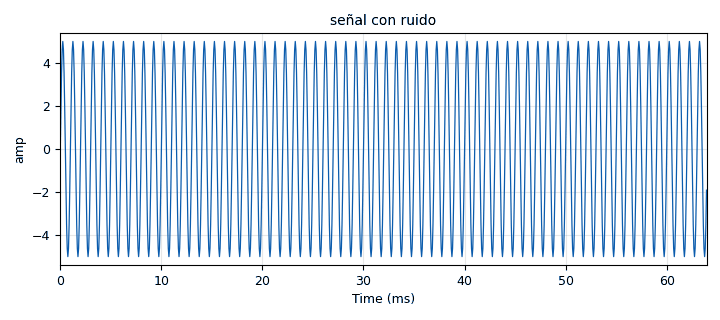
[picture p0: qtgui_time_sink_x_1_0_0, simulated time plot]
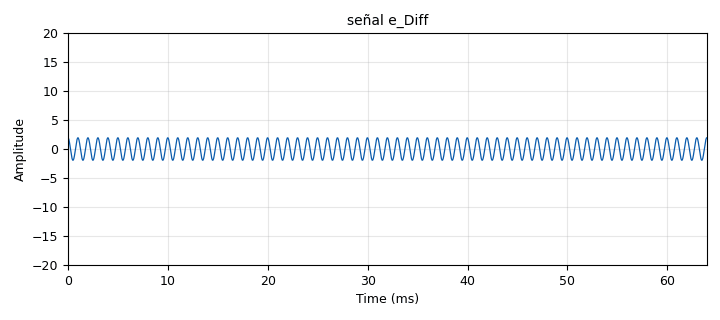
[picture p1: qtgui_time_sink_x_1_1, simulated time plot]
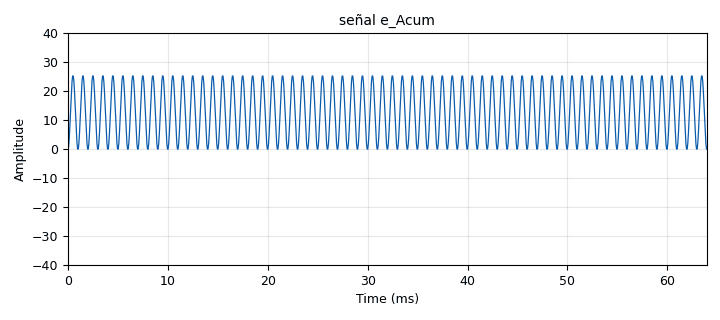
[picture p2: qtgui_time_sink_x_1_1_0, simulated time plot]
options:
  parameters:
    generate_options: qt_gui
    id: Promedios_de_Tiempos
    output_language: python
    title: Not titled yet
  states: {}

blocks:
- name: amp
  id: variable_qtgui_range
  parameters:
    label: amp
    start: '0'
    step: '0.001'
    stop: '1'
    value: '0'
  states: {}
- name: samp_rate
  id: variable
  parameters:
    value: '16000'
  states: {}
- name: analog_noise_source_x_0_0_0
  id: analog_noise_source_x
  parameters:
    amp: amp
    noise_type: analog.GR_GAUSSIAN
    seed: '5'
    type: float
  states: {}
- name: analog_sig_source_x_0_0_0
  id: analog_sig_source_x
  parameters:
    amp: '5'
    freq: '1000'
    offset: '0'
    phase: '0'
    samp_rate: samp_rate
    type: float
    waveform: analog.GR_SIN_WAVE
  states: {}
- name: blocks_add_xx_0_0_0
  id: blocks_add_xx
  parameters:
    type: float
  states: {}
- name: blocks_throttle2_0_0_0
  id: blocks_throttle2
  parameters:
    samples_per_second: samp_rate
    type: float
  states: {}
- name: epy_block_0
  id: epy_block
  parameters:
    _source_code: |
      """
      Embedded Python Blocks:

      Each time this file is saved, GRC will instantiate the first class it finds
      to get ports and parameters of your block. The arguments to __init__  will
      be the parameters. All of them are required to have default values!
      """

      import numpy as np
      from gnuradio import gr
      class blk (gr. sync_block ):
          def __init__ ( self, additionFlag=True) : # only default arguments here
              gr. sync_block . __init__ (
                  self ,
                  name ='Promedios_de_tiempos', 
                  in_sig =[ np. float32 ],
                  out_sig =[ np. float32 , np.float32, np.float32, np.float32, np.float32]
              )
              self . acum_anterior = 0
              self . Ntotales = 0
              self . acum_anterior1 = 0
              self . acum_anterior2 = 0
              
          def work (self , input_items , output_items ):
              x = input_items [0] # Senial de entrada .
              y0 = output_items [0] # Promedio de la senial
              y1 = output_items [1] # Media de la senial
              y2 = output_items [2] # RMS de la senial
              y3 = output_items [3] # Potencia promedio de la senial
              y4 = output_items [4] # Desviacion estandar de la senial

              # Calculo del promedio
              N = len (x)
              self . Ntotales = self . Ntotales + N
              acumulado = self . acum_anterior + np. cumsum (x)
              self . acum_anterior = acumulado [N -1]
              y0 [:]= acumulado / self . Ntotales
              
              # Calculo de la media cuadratica
              x2=np. multiply (x,x)
              acumulado1 = self . acum_anterior1 + np. cumsum (x2)
              self . acum_anterior1 = acumulado [N -1]
              y1 [:] = acumulado1 / self . Ntotales
              
              # Calculo de la RMS
              y2 [:] = np. sqrt (y1)
              
              # Calculo de la potencia promedio
              y3 [:] = np. multiply (y2 ,y2)

              # Calculo de la desviacion estandar
              x3 = np. multiply (x-y0 ,x-y0)
              acumulado2 = self . acum_anterior2 + np. cumsum (x3)
              self . acum_anterior2 = acumulado2 [N -1]
              y4 [:] = np. sqrt ( acumulado2 / self . Ntotales )
              
              return len (x)
              output_items[0][:]=input_items[0]*self.additionFlag
              return len (output_items[0])
    additionFlag: 'True'
  states: {}
- name: epy_block_0_0
  id: epy_block
  parameters:
    _source_code: |
      """
      Embedded Python Blocks:

      Each time this file is saved, GRC will instantiate the first class it finds
      to get ports and parameters of your block. The arguments to __init__  will
      be the parameters. All of them are required to have default values!
      """

      import numpy as np
      from gnuradio import gr
      class blk (gr. sync_block ):
          def __init__ ( self, additionFlag=True) : # only default arguments here
              gr. sync_block . __init__ (
                  self ,
                  name ='Promedios_de_tiempos', 
                  in_sig =[ np. float32 ],
                  out_sig =[ np. float32 , np.float32, np.float32, np.float32, np.float32]
              )
              self . acum_anterior = 0
              self . Ntotales = 0
              self . acum_anterior1 = 0
              self . acum_anterior2 = 0
              
          def work (self , input_items , output_items ):
              x = input_items [0] # Senial de entrada .
              y0 = output_items [0] # Promedio de la senial
              y1 = output_items [1] # Media de la senial
              y2 = output_items [2] # RMS de la senial
              y3 = output_items [3] # Potencia promedio de la senial
              y4 = output_items [4] # Desviacion estandar de la senial

              # Calculo del promedio
              N = len (x)
              self . Ntotales = self . Ntotales + N
              acumulado = self . acum_anterior + np. cumsum (x)
              self . acum_anterior = acumulado [N -1]
              y0 [:]= acumulado / self . Ntotales
              
              # Calculo de la media cuadratica
              x2=np. multiply (x,x)
              acumulado1 = self . acum_anterior1 + np. cumsum (x2)
              self . acum_anterior1 = acumulado [N -1]
              y1 [:] = acumulado1 / self . Ntotales
              
              # Calculo de la RMS
              y2 [:] = np. sqrt (y1)
              
              # Calculo de la potencia promedio
              y3 [:] = np. multiply (y2 ,y2)

              # Calculo de la desviacion estandar
              x3 = np. multiply (x-y0 ,x-y0)
              acumulado2 = self . acum_anterior2 + np. cumsum (x3)
              self . acum_anterior2 = acumulado2 [N -1]
              y4 [:] = np. sqrt ( acumulado2 / self . Ntotales )
              
              return len (x)
              output_items[0][:]=input_items[0]*self.additionFlag
              return len (output_items[0])
    additionFlag: 'True'
  states: {}
- name: epy_block_1_0_0
  id: epy_block
  parameters:
    _source_code: "\"\"\"\nEmbedded Python Blocks:\n\nEach time this file is saved, GRC will instantiate the first class it finds\nto get ports and parameters of your block. The arguments to __init__  will\nbe the parameters. All of them are required to have default values!\n\"\"\"\n\nimport numpy as np\nfrom gnuradio import gr\n\n\nclass blk(gr.sync_block):  # other base classes are basic_block, decim_block, interp_block\n    \"\"\"Embedded Python Block example - a simple multiply const\"\"\"\n\n    def __init__(self, additionFlag=True):  # only default arguments here\n        \"\"\"arguments to this function show up as parameters in GRC\"\"\"\n        gr.sync_block.__init__(\n            self,\n            name='e_Diff',   # will show up in GRC\n            in_sig=[np.float32],\n            out_sig=[np.float32]\n        \n        )\n        self.acum_anterior=0\n\n    def work(self, input_items, output_items):\n        x = input_items[0]\n        y0 = output_items[0]\n    \n        N = len(x)\n    \n        if N < 2:\n            return 0  # Si hay muy pocos datos, no se hace nada\n\n        diff = x[1:] - x[:-1]  # Calcula las diferencias\n    \n        y0[:len(diff)] = diff  # Copia los datos en la salida\n        return len(diff)\n\n"
    additionFlag: 'True'
  states: {}
- name: epy_block_1_0_0_0
  id: epy_block
  parameters:
    _source_code: |-
      import numpy as np
      from gnuradio import gr


      class blk(gr.sync_block):  # other base classes are basic_block, decim_block, interp_block
          """Embedded Python Block example - a simple multiply const"""

          def __init__(self, additionFlag=True):  # only default arguments here
              gr.sync_block.__init__(
                  self,
                  name='e_Acum',   # will show up in GRC
                  in_sig=[np.float32],
                  out_sig=[np.float32]
              )
              # Estado acumulado
              self.acumulated_value = 0.0
              self.additionFlag = additionFlag
          
          def work(self, input_items, output_items):
              x = input_items[0]  # Señal de entrada
              y0 = output_items[0]  # Señal acumulada

              # Realizamos la acumulación continua
              for i in range(len(x)):
                  self.acumulated_value += x[i]  # Acumulamos los valores
                  y0[i] = self.acumulated_value  # Guardamos el valor acumulado en la salida

              return len(y0)
    additionFlag: 'True'
  states: {}
- name: qtgui_number_sink_0
  id: qtgui_number_sink
  parameters:
    graph_type: qtgui.NUM_GRAPH_HORIZ
    name: Media e_Diff
    type: float
  states: {}
- name: qtgui_number_sink_0_0
  id: qtgui_number_sink
  parameters:
    graph_type: qtgui.NUM_GRAPH_HORIZ
    name: Media e_Acum
    type: float
  states: {}
- name: qtgui_number_sink_1
  id: qtgui_number_sink
  parameters:
    graph_type: qtgui.NUM_GRAPH_HORIZ
    name: RMS e_Diff
    type: float
  states: {}
- name: qtgui_number_sink_1_0
  id: qtgui_number_sink
  parameters:
    graph_type: qtgui.NUM_GRAPH_HORIZ
    name: RMS  e_Acum
    type: float
  states: {}
- name: qtgui_number_sink_2
  id: qtgui_number_sink
  parameters:
    graph_type: qtgui.NUM_GRAPH_HORIZ
    name: Media Cuadratica e_Diff
    type: float
  states: {}
- name: qtgui_number_sink_2_0
  id: qtgui_number_sink
  parameters:
    graph_type: qtgui.NUM_GRAPH_HORIZ
    name: Media Cuadratica  e_Acum
    type: float
  states: {}
- name: qtgui_number_sink_3
  id: qtgui_number_sink
  parameters:
    graph_type: qtgui.NUM_GRAPH_HORIZ
    name: Potencial Promedio e_Diff
    type: float
  states: {}
- name: qtgui_number_sink_3_0
  id: qtgui_number_sink
  parameters:
    graph_type: qtgui.NUM_GRAPH_HORIZ
    name: Potencial Promedio  e_Acum
    type: float
  states: {}
- name: qtgui_number_sink_4
  id: qtgui_number_sink
  parameters:
    graph_type: qtgui.NUM_GRAPH_HORIZ
    name: Desviacion Estandar e_Diff
    type: float
  states: {}
- name: qtgui_number_sink_4_0
  id: qtgui_number_sink
  parameters:
    graph_type: qtgui.NUM_GRAPH_HORIZ
    name: Desviacion Estandar  e_Acum
    type: float
  states: {}
- name: qtgui_time_sink_x_1_0_0
  id: qtgui_time_sink_x
  parameters:
    name: señal con ruido
    size: '1024'
    srate: samp_rate
    type: float
    ylabel: amp
    ymax: '5'
    ymin: '-5'
  states: {}
- name: qtgui_time_sink_x_1_1
  id: qtgui_time_sink_x
  parameters:
    name: señal e_Diff
    size: '1024'
    srate: samp_rate
    type: float
    ymax: '20'
    ymin: '-20'
  states: {}
- name: qtgui_time_sink_x_1_1_0
  id: qtgui_time_sink_x
  parameters:
    name: señal e_Acum
    size: '1024'
    srate: samp_rate
    type: float
    ymax: '40'
    ymin: '-40'
  states: {}

connections:
- [analog_noise_source_x_0_0_0, '0', blocks_add_xx_0_0_0, '1']
- [analog_sig_source_x_0_0_0, '0', blocks_add_xx_0_0_0, '0']
- [blocks_add_xx_0_0_0, '0', blocks_throttle2_0_0_0, '0']
- [blocks_throttle2_0_0_0, '0', epy_block_1_0_0, '0']
- [blocks_throttle2_0_0_0, '0', epy_block_1_0_0_0, '0']
- [blocks_throttle2_0_0_0, '0', qtgui_time_sink_x_1_0_0, '0']
- [epy_block_0, '0', qtgui_number_sink_0, '0']
- [epy_block_0, '1', qtgui_number_sink_2, '0']
- [epy_block_0, '2', qtgui_number_sink_1, '0']
- [epy_block_0, '3', qtgui_number_sink_3, '0']
- [epy_block_0, '4', qtgui_number_sink_4, '0']
- [epy_block_0_0, '0', qtgui_number_sink_0_0, '0']
- [epy_block_0_0, '1', qtgui_number_sink_2_0, '0']
- [epy_block_0_0, '2', qtgui_number_sink_1_0, '0']
- [epy_block_0_0, '3', qtgui_number_sink_3_0, '0']
- [epy_block_0_0, '4', qtgui_number_sink_4_0, '0']
- [epy_block_1_0_0, '0', epy_block_0, '0']
- [epy_block_1_0_0, '0', qtgui_time_sink_x_1_1, '0']
- [epy_block_1_0_0_0, '0', epy_block_0_0, '0']
- [epy_block_1_0_0_0, '0', qtgui_time_sink_x_1_1_0, '0']

metadata:
  file_format: 1
  grc_version: 3.10.12.0
